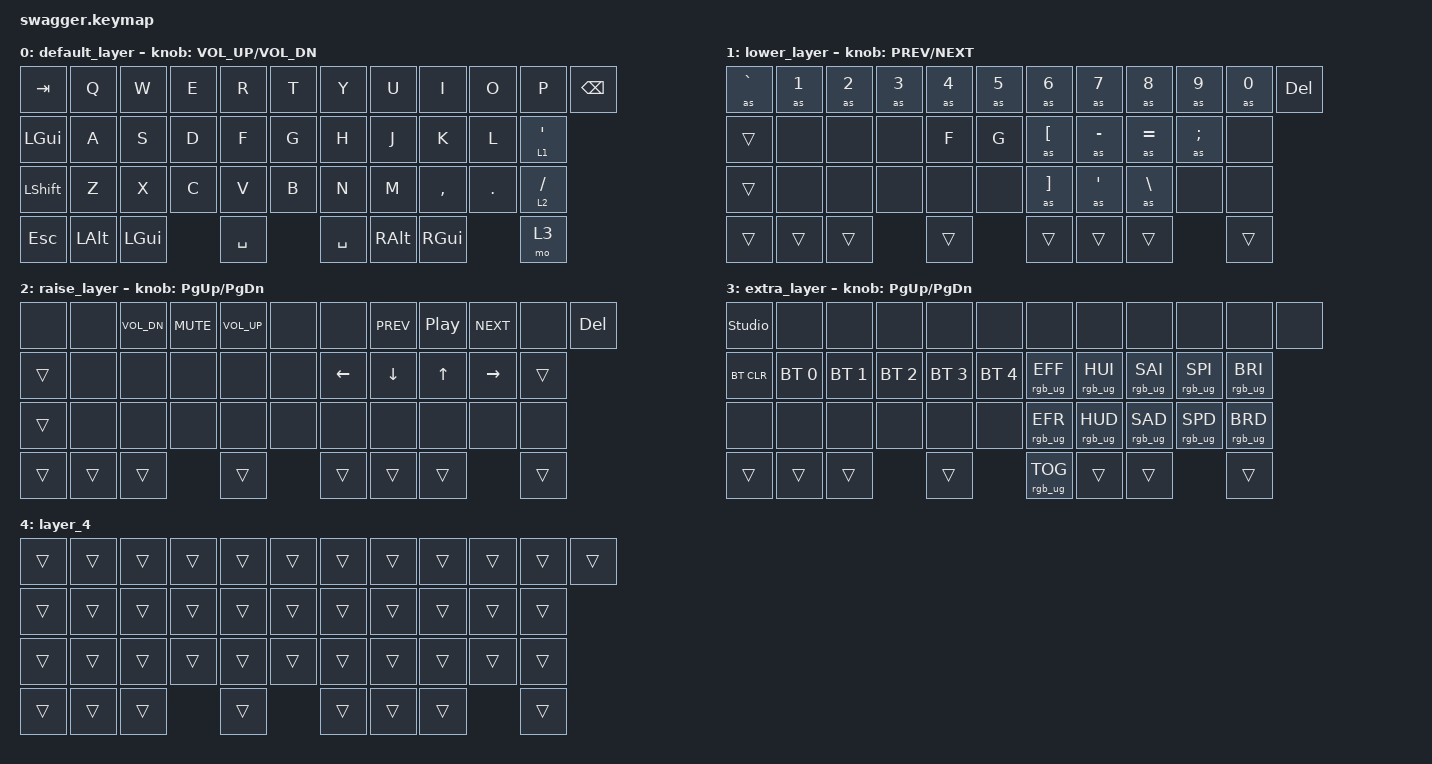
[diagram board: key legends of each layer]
/*
 * Copyright (c) 2023 Flamwenco
 *
 * SPDX-License-Identifier: MIT
 */

#include <behaviors.dtsi>
#include <dt-bindings/zmk/bt.h>
#include <dt-bindings/zmk/keys.h>
#include <dt-bindings/zmk/rgb.h>

// Combo helper

#define COMBO(NAME, BINDINGS, KEYPOS, TIMEOUT, LAYERS) \
    combo_##NAME { \
        timeout-ms = <TIMEOUT>; \
        bindings = <BINDINGS>; \
        key-positions = <KEYPOS>; \
        layers = <LAYERS>; \
    };

&mt { tapping-term-ms = <170>; };

/ {
    combos {
        compatible = "zmk,combos";

        /* Function keys */

        COMBO(fnone,   &kp F1,  1 16,  50,  1)
        COMBO(ftwo,    &kp F2,  2 16,  50,  1)
        COMBO(fthree,  &kp F3,  3 16,  50,  1)
        COMBO(ffour,   &kp F4,  4 16,  50,  1)
        COMBO(ffive,   &kp F5,  5 16,  50,  1)
        COMBO(fsix,    &kp F6,  6 16,  50,  1)
        COMBO(fseven,  &kp F7,  7 16,  100, 1)
        COMBO(feight,  &kp F8,  8 16,  100, 1)
        COMBO(fnine,   &kp F9,  9 16,  100, 1)
        COMBO(ften,    &kp F10, 10 16, 100, 1)
        COMBO(feleven, &kp F11, 1 17,  50,  1)
        COMBO(ftwelve, &kp F12, 2 17,  50,  1)

        /* Enter */

        COMBO(klenter, &kp RET, 20 21, 100, 0)

        enter {
            bindings = <&kp ENTER>;
            key-positions = <21 20>;
            layers = <0>;
        };
    };

    behaviors {
        as_ht: autoshift_hold_tap {
            compatible = "zmk,behavior-hold-tap";
            label = "AUTOSHIFT_HOLD_TAP";
            #binding-cells = <2>;
            tapping-term-ms = <200>;
            bindings = <&shifted>, <&kp>;
        };
    };

    macros {
        shifted: macro_shifted_kp {
            #binding-cells = <1>;
            label = "MACRO_SHIFTED_KP";
            compatible = "zmk,behavior-macro-one-param";
            bindings =
                <&macro_press>,
                <&kp LSHFT &macro_param_1to1>,
                <&macro_tap>,
                <&kp MACRO_PLACEHOLDER>,
                <&macro_release>,
                <&kp LSHFT>;
        };

        as: autoshift {
            compatible = "zmk,behavior-macro-one-param";
            #binding-cells = <1>;
            label = "AUTOSHIFT_KP";
            bindings =
                <&macro_press>,
                <&macro_param_1to1 &macro_param_1to2 &as_ht MACRO_PLACEHOLDER MACRO_PLACEHOLDER>,
                <&macro_pause_for_release>,
                <&macro_release>,
                <&macro_param_1to1 &macro_param_1to2 &as_ht MACRO_PLACEHOLDER MACRO_PLACEHOLDER>;
        };
    };

    keymap {
        compatible = "zmk,keymap";

        default_layer {
            bindings = <
&kp TAB       &kp Q     &kp W     &kp E  &kp R      &kp T  &kp Y      &kp U     &kp I      &kp O    &kp P        &kp BSPC
&kp LEFT_GUI  &kp A     &kp S     &kp D  &kp F      &kp G  &kp H      &kp J     &kp K      &kp L    &lt 1 SQT
&kp LSHFT     &kp Z     &kp X     &kp C  &kp V      &kp B  &kp N      &kp M     &kp COMMA  &kp DOT  &lt 2 SLASH
&kp ESCAPE    &kp LALT  &kp LGUI         &kp SPACE         &kp SPACE  &kp RALT  &kp RGUI            &mo 3
            >;

            sensor-bindings = <&inc_dec_kp C_VOL_UP C_VOL_DN>;
        };

        lower_layer {
            bindings = <
&as GRAVE  &as N1  &as N2  &as N3  &as N4  &as N5  &as N6    &as N7     &as N8     &as N9    &as N0  &kp DEL
&trans     &none   &none   &none   &kp F   &kp G   &as LBKT  &as MINUS  &as EQUAL  &as SEMI  &none
&trans     &none   &none   &none   &none   &none   &as RBKT  &as APOS   &as BSLH   &none     &none
&trans     &trans  &trans          &trans          &trans    &trans     &trans               &trans
            >;

            sensor-bindings = <&inc_dec_kp C_PREV C_NEXT>;
        };

        raise_layer {
            bindings = <
&none   &none   &kp C_VOL_DN  &kp C_MUTE  &kp C_VOL_UP  &none  &none     &kp C_PREV  &kp C_PP  &kp C_NEXT  &none   &kp DEL
&trans  &none   &none         &none       &none         &none  &kp LEFT  &kp DOWN    &kp UP    &kp RIGHT   &trans
&trans  &none   &none         &none       &none         &none  &none     &none       &none     &none       &none
&trans  &trans  &trans                    &trans               &trans    &trans      &trans                &trans
            >;

            sensor-bindings = <&inc_dec_kp PG_UP PG_DN>;
        };

        extra_layer {
            bindings = <
&studio_unlock  &none         &none         &none         &none         &none         &none            &none            &none            &none            &none            &none
&bt BT_CLR      &bt BT_SEL 0  &bt BT_SEL 1  &bt BT_SEL 2  &bt BT_SEL 3  &bt BT_SEL 4  &rgb_ug RGB_EFF  &rgb_ug RGB_HUI  &rgb_ug RGB_SAI  &rgb_ug RGB_SPI  &rgb_ug RGB_BRI
&none           &none         &none         &none         &none         &none         &rgb_ug RGB_EFR  &rgb_ug RGB_HUD  &rgb_ug RGB_SAD  &rgb_ug RGB_SPD  &rgb_ug RGB_BRD
&trans          &trans        &trans                      &trans                      &rgb_ug RGB_TOG  &trans           &trans                            &trans
            >;

            sensor-bindings = <&inc_dec_kp PG_UP PG_DN>;
        };

        layer_4 {
            bindings = <
&trans  &trans  &trans  &trans  &trans  &trans  &trans  &trans  &trans  &trans  &trans  &trans
&trans  &trans  &trans  &trans  &trans  &trans  &trans  &trans  &trans  &trans  &trans
&trans  &trans  &trans  &trans  &trans  &trans  &trans  &trans  &trans  &trans  &trans
&trans  &trans  &trans          &trans          &trans  &trans  &trans          &trans
            >;
        };
    };
};
